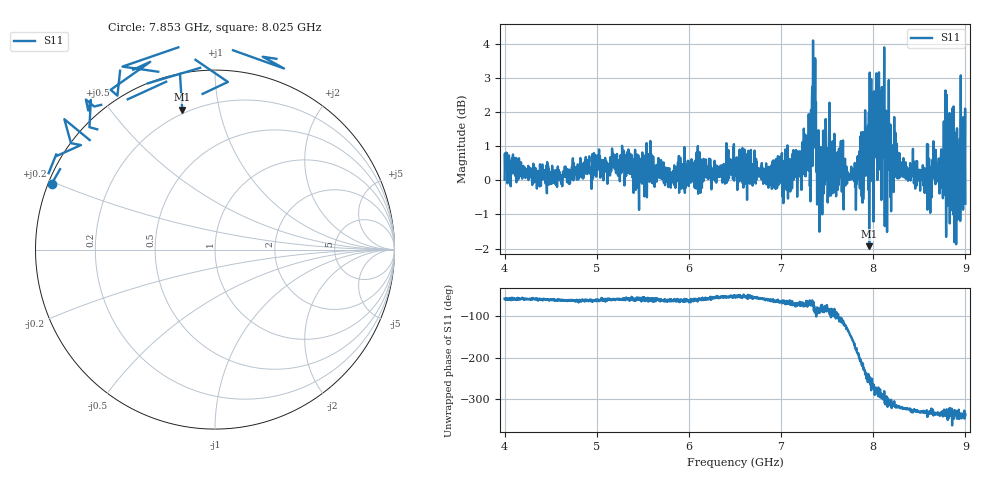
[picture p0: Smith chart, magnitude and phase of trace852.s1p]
! Created with skrf 1.8.0 (http://scikit-rf.org).
# Hz S RI R 50.0
!freq ReS11 ImS11
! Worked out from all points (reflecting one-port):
!   1601 points, 4 GHz to 9 GHz, reference 50 ohm
!   lowest |S11| = -1.9 dB at 7.956 GHz (marker M1), VSWR 9.05, Z = 8.93 + j38.9 ohm
!   phase of S11 starts at -57 deg and turns -281 deg over the sweep
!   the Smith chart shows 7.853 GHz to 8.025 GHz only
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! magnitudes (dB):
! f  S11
! 4 GHz  0.0
! 4.625 GHz  -0.2
! 5.25 GHz  0.0
! 5.875 GHz  0.4
! 6.5 GHz  0.4
! 7.125 GHz  0.8
! 7.297 GHz  0.3
! 7.319 GHz  -0.6
! 7.353 GHz  2.1
! 7.381 GHz  0.7
! 7.4 GHz  1.1
! 7.428 GHz  0.9
! 7.509 GHz  -0.2
! 7.609 GHz  0.8
! 7.65 GHz  1.1
! 7.75 GHz  0.0
! 7.878 GHz  0.0
! 7.956 GHz  -1.9
! 8.041 GHz  1.0
! 8.066 GHz  1.1
! 8.097 GHz  1.2
! 8.197 GHz  0.4
! 8.375 GHz  0.2
! 8.612 GHz  0.4
! 8.803 GHz  -0.8
! 8.919 GHz  -0.5
! 8.972 GHz  0.4
! 9 GHz  -0.7
